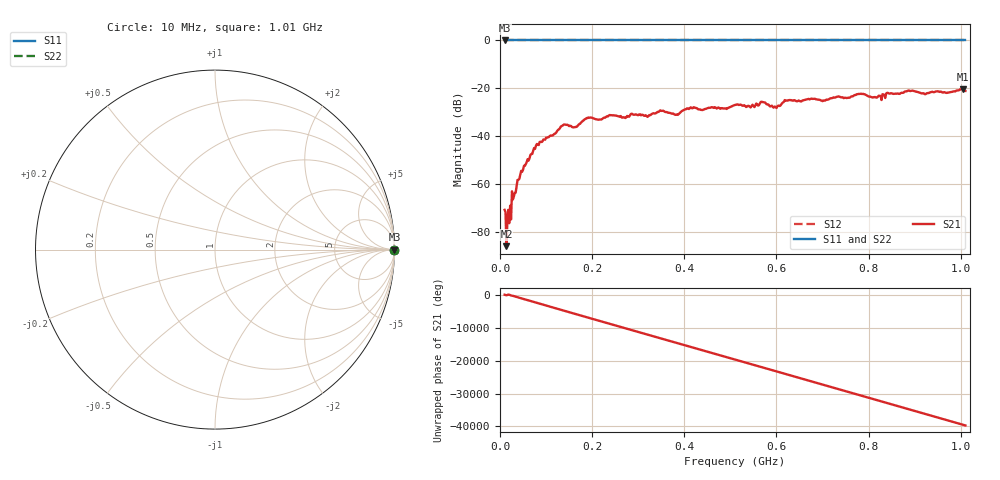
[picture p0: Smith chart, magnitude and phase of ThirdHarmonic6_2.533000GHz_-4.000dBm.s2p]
! 8/17/2025 5:03:47 AM
! C:\ANRITSUVNA\TEMP\TEMP.S2P
! CHANNEL.1
! TR.MEASUREMENT
! RAW.DATA
! RF.CORRECTION.OFF
! AVERAGING.OFF
! IF.BANDWIDTH: 5KHZ
! SWEEPTYPE:  FREQ.SWEEP(Linear)
! Reference Plane Port Info
! PORT:  PORT1  PORT2
! DISTANCE:  0  m  0  m
! TIME:  0  s  0  s
! PHASE.OFFSET:  0  deg.  0  deg.
! LOSS:  0  dB  0  dB
! REF.LOSS:  0  dB  0  dB
! REF.FREQ:  0  Hz  0  Hz
! Power Info
! POWER:  -20  dBm  -20  dBm
! EFF.POWER:  -20  dBm  -20  dBm
! SOURCE.ATTEN:  0  dB  0  dB
! TEST.ATTEN:  0  dB  0  dB
# GHZ S RI R 50.0
! FREQ.GHZ  S11RE  S11IM  S21RE  S21IM  S12RE  S12IM  S22RE  S22IM
!; PortSelection: Port_12
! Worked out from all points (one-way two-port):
!   501 points, 10 MHz to 1.01 GHz, reference 50 ohm
!   highest |S21| = -20.41 dB at 1.004 GHz (marker M1); lowest = -85.8 dB at 14 MHz (marker M2)
!   lowest |S11| = 0.0 dB at 10 MHz (marker M3)
!   |S11| at or under -10 dB: nowhere
!   |S22| runs from 0.0 to 0.0 dB; largest |S21 - S12| = 1.1
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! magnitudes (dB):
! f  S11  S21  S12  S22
! 10 MHz  0.0  -70.7  0.0  0.0
! 14 MHz  0.0  -85.8  0.0  0.0
! 20 MHz  0.0  -76.2  0.0  0.0
! 30 MHz  0.0  -65.2  0.0  0.0
! 42 MHz  0.0  -57.8  0.0  0.0
! 78 MHz  0.0  -44.0  0.0  0.0
! 136 MHz  0.0  -35.5  0.0  0.0
! 162 MHz  0.0  -36.2  0.0  0.0
! 178 MHz  0.0  -33.8  0.0  0.0
! 192 MHz  0.0  -32.1  0.0  0.0
! 322 MHz  0.0  -31.5  0.0  0.0
! 344 MHz  0.0  -29.8  0.0  0.0
! 384 MHz  0.0  -30.9  0.0  0.0
! 416 MHz  0.0  -28.2  0.0  0.0
! 510 MHz  0.0  -26.9  0.0  0.0
! 570 MHz  0.0  -25.7  0.0  0.0
! 596 MHz  0.0  -27.6  0.0  0.0
! 622 MHz  0.0  -25.1  0.0  0.0
! 678 MHz  0.0  -24.4  0.0  0.0
! 844 MHz  0.0  -22.1  0.0  0.0
! 1.004 GHz  0.0  -20.4  0.0  0.0
! 1.01 GHz  0.0  -21.1  0.0  0.0
